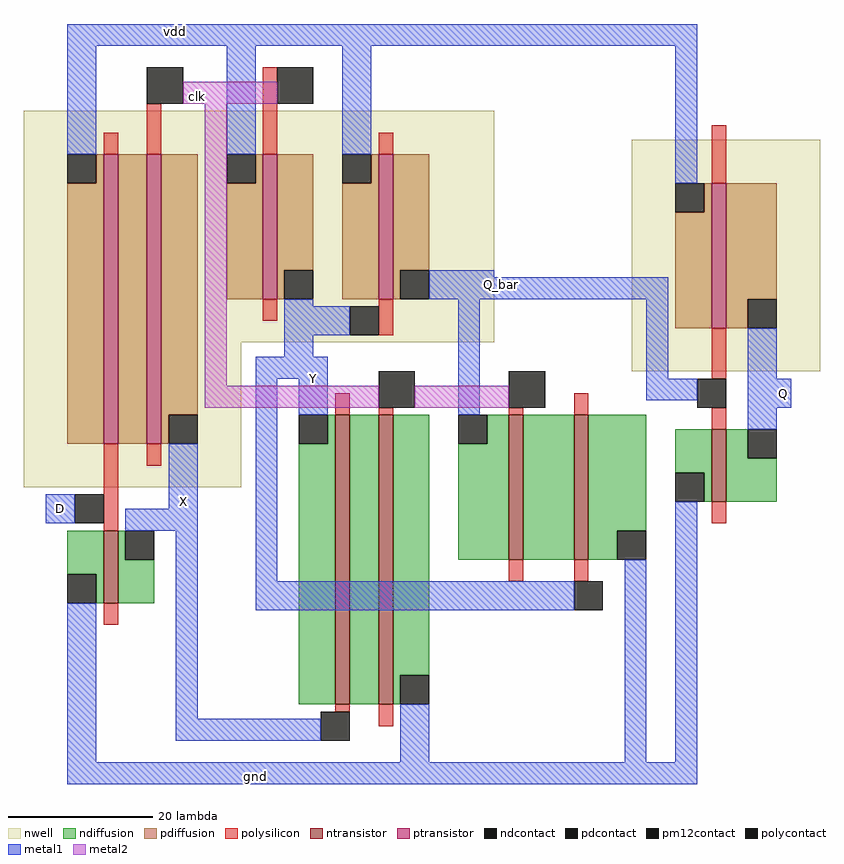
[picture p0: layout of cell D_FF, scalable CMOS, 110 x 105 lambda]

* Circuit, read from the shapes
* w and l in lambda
.subckt D_FF D Q Q_bar X Y clk gnd vdd
M1 X D gnd VSUBS nfet w=10 l=2
M2 n1 X Y VSUBS nfet w=40 l=2
M3 gnd clk n1 VSUBS nfet w=40 l=2
M4 n2 clk Q_bar VSUBS nfet w=20 l=2
M5 gnd Y n2 VSUBS nfet w=20 l=2
M6 Q Q_bar gnd VSUBS nfet w=10 l=2
M7 n3 D vdd n4 pfet w=40 l=2
M8 X clk n3 n4 pfet w=40 l=2
M9 Y clk vdd n4 pfet w=20 l=2
M10 Q_bar Y vdd n4 pfet w=20 l=2
M11 Q Q_bar vdd n5 pfet w=20 l=2
.ends

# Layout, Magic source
magic
tech scmos
<< nwell >>
rect -12 2 53 34
rect -12 -18 18 2
rect 72 -2 98 30
<< ntransistor >>
rect -1 -34 1 -24
rect 31 -48 33 -8
rect 37 -48 39 -8
rect 55 -28 57 -8
rect 64 -28 66 -8
rect 83 -20 85 -10
<< ptransistor >>
rect -1 -12 1 28
rect 5 -12 7 28
rect 21 8 23 28
rect 37 8 39 28
rect 83 4 85 24
<< ndiffusion >>
rect 30 -12 31 -8
rect -6 -30 -1 -24
rect -2 -34 -1 -30
rect 1 -28 2 -24
rect 1 -34 6 -28
rect 26 -48 31 -12
rect 33 -48 37 -8
rect 39 -44 44 -8
rect 52 -12 55 -8
rect 48 -28 55 -12
rect 57 -28 64 -8
rect 66 -24 74 -8
rect 78 -16 83 -10
rect 82 -20 83 -16
rect 85 -14 88 -10
rect 85 -20 92 -14
rect 66 -28 70 -24
rect 39 -48 40 -44
<< pdiffusion >>
rect -2 24 -1 28
rect -6 -12 -1 24
rect 1 -12 5 28
rect 7 -8 12 28
rect 20 24 21 28
rect 16 8 21 24
rect 23 12 28 28
rect 23 8 24 12
rect 36 24 37 28
rect 32 8 37 24
rect 39 12 44 28
rect 39 8 40 12
rect 82 20 83 24
rect 78 4 83 20
rect 85 8 92 24
rect 85 4 88 8
rect 7 -12 8 -8
<< ndcontact >>
rect 26 -12 30 -8
rect -6 -34 -2 -30
rect 2 -28 6 -24
rect 48 -12 52 -8
rect 78 -20 82 -16
rect 88 -14 92 -10
rect 70 -28 74 -24
rect 40 -48 44 -44
<< pdcontact >>
rect -6 24 -2 28
rect 16 24 20 28
rect 24 8 28 12
rect 32 24 36 28
rect 40 8 44 12
rect 78 20 82 24
rect 88 4 92 8
rect 8 -12 12 -8
<< polysilicon >>
rect -1 28 1 31
rect 5 28 7 35
rect 21 28 23 40
rect 37 28 39 31
rect 83 24 85 32
rect 21 5 23 8
rect 37 3 39 8
rect 31 -8 33 -5
rect 83 -3 85 4
rect 37 -8 39 -7
rect 55 -8 57 -7
rect 64 -8 66 -5
rect -1 -24 1 -12
rect 5 -15 7 -12
rect -1 -37 1 -34
rect 83 -10 85 -7
rect 83 -23 85 -20
rect 55 -31 57 -28
rect 64 -31 66 -28
rect 31 -49 33 -48
rect 37 -51 39 -48
<< polycontact >>
rect 33 3 37 7
rect 81 -7 85 -3
rect -5 -23 -1 -19
rect 64 -35 68 -31
rect 29 -53 33 -49
<< metal1 >>
rect -6 43 81 46
rect -6 28 -2 43
rect 16 28 20 43
rect 32 28 36 43
rect 78 24 81 43
rect 44 11 53 12
rect 44 8 77 11
rect 24 7 28 8
rect 24 3 33 7
rect 24 0 28 3
rect 20 -3 30 0
rect -9 -23 -5 -19
rect 8 -21 12 -12
rect 2 -24 12 -21
rect -6 -56 -2 -34
rect 9 -50 12 -24
rect 20 -31 23 -3
rect 26 -8 30 -3
rect 48 -8 51 8
rect 74 -3 77 8
rect 88 -3 92 4
rect 74 -6 81 -3
rect 88 -7 94 -3
rect 88 -10 92 -7
rect 20 -35 64 -31
rect 9 -53 29 -50
rect 40 -56 44 -48
rect 71 -56 74 -28
rect 78 -56 81 -20
rect -6 -59 81 -56
<< pm12contact >>
rect 5 35 10 40
rect 23 35 28 40
rect 37 -7 42 -2
rect 55 -7 60 -2
<< metal2 >>
rect 10 35 23 38
rect 13 -4 16 35
rect 13 -7 37 -4
rect 42 -7 55 -4
<< labels >>
rlabel metal1 -7 -21 -7 -21 3 D
rlabel metal1 9 45 9 45 5 vdd
rlabel metal2 12 36 12 36 1 clk
rlabel metal1 10 -20 10 -20 1 X
rlabel metal1 54 10 54 10 7 Q_bar
rlabel metal1 28 -3 28 -3 1 Y
rlabel metal1 20 -58 20 -58 1 gnd
rlabel metal1 93 -5 93 -5 7 Q
<< end >>
